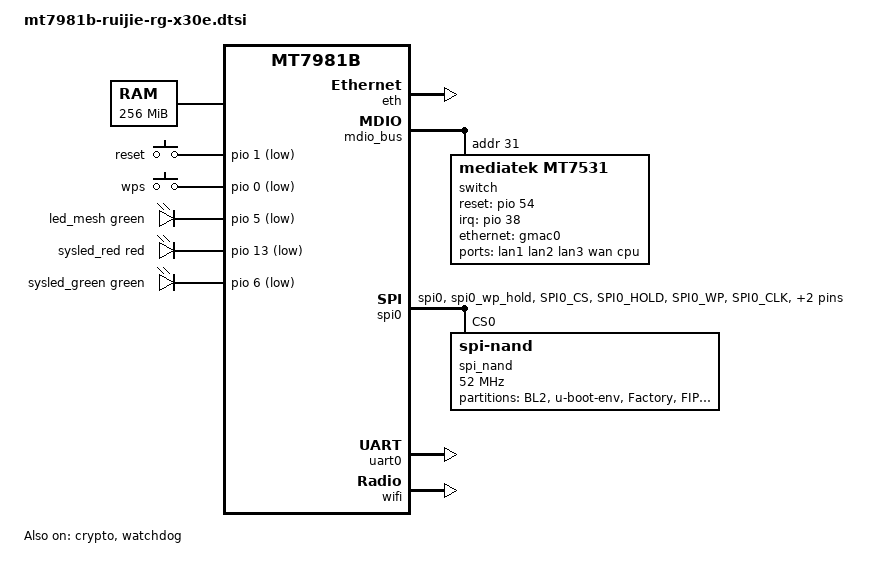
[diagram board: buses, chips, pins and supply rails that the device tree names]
// SPDX-License-Identifier: GPL-2.0-or-later OR MIT
/*
 * Ruijie RG-X30E - MT7981B + 128MB SPI-NAND (NMBM) + 256MB DDR3
 *
 * 移植来源：RuijieNetworksCommunity/MT798X-6.6-24.10 (openwrt 24.10 / kernel 6.6)
 * 适配目标：fanchmwrt-25.12.6 (kernel 6.12) 设备树写法
 *   - mt7981.dtsi            -> mt7981b.dtsi
 *   - memory { }             -> memory@40000000 + device_type
 *   - &hnat { mtketh-* }     -> 已在上游 6.12 移除（本树改用 shortcut-fe 加速）
 *   - leds label=            -> function/color（6.12 绑定）
 *   - spi_nand: flash@0      -> spi_nand@0
 *   - &mdio { ... }          -> &mdio_bus（内核补丁 117 提供的标签）
 */

/dts-v1/;
#include <dt-bindings/gpio/gpio.h>
#include <dt-bindings/input/input.h>
#include <dt-bindings/leds/common.h>
#include <dt-bindings/pinctrl/mt65xx.h>

#include "mt7981b.dtsi"

/ {
	aliases {
		serial0 = &uart0;
		led-boot = &sysled_red;
		led-failsafe = &sysled_red;
		led-running = &sysled_green;
		led-upgrade = &sysled_red;
	};

	chosen {
		stdout-path = "serial0:115200n8";
	};

	memory@40000000 {
		device_type = "memory";
		reg = <0 0x40000000 0 0x10000000>;
	};

	gpio-keys {
		compatible = "gpio-keys";

		button-reset {
			label = "reset";
			linux,code = <KEY_RESTART>;
			gpios = <&pio 1 GPIO_ACTIVE_LOW>;
		};

		button-wps {
			label = "wps";
			linux,code = <KEY_WPS_BUTTON>;
			gpios = <&pio 0 GPIO_ACTIVE_LOW>;
		};
	};

	leds {
		compatible = "gpio-leds";

		led_mesh: green-mesh {
			function = "mesh"; /* no LED_FUNCTION_MESH yet */
			color = <LED_COLOR_ID_GREEN>;
			gpios = <&pio 5 GPIO_ACTIVE_LOW>;
		};

		sysled_red: red-status {
			function = LED_FUNCTION_STATUS;
			color = <LED_COLOR_ID_RED>;
			gpios = <&pio 13 GPIO_ACTIVE_LOW>;
		};

		sysled_green: green-status {
			function = LED_FUNCTION_STATUS;
			color = <LED_COLOR_ID_GREEN>;
			gpios = <&pio 6 GPIO_ACTIVE_LOW>;
		};
	};
};

&crypto {
	status = "okay";
};

&eth {
	status = "okay";

	gmac0: mac@0 {
		compatible = "mediatek,eth-mac";
		reg = <0>;
		phy-mode = "2500base-x";

		fixed-link {
			speed = <2500>;
			full-duplex;
			pause;
		};
	};

	gmac1: mac@1 {
		compatible = "mediatek,eth-mac";
		reg = <1>;
		phy-mode = "2500base-x";

		fixed-link {
			speed = <2500>;
			full-duplex;
			pause;
		};
	};
};

&mdio_bus {
	switch: switch@1f {
		compatible = "mediatek,mt7531";
		reg = <31>;
		reset-gpios = <&pio 54 GPIO_ACTIVE_HIGH>;
		interrupt-controller;
		#interrupt-cells = <1>;
		interrupt-parent = <&pio>;
		interrupts = <38 IRQ_TYPE_LEVEL_HIGH>;
	};
};

&spi0 {
	pinctrl-names = "default";
	pinctrl-0 = <&spi0_flash_pins>;
	status = "okay";

	spi_nand@0 {
		compatible = "spi-nand";
		reg = <0>;

		spi-max-frequency = <52000000>;

		/* MT7981B 支持 4-bit SPI NAND，但 X30E 板上按 1-bit 走线 */
		spi-tx-bus-width = <1>;
		spi-rx-bus-width = <1>;

		spi-cal-enable;
		spi-cal-mode = "read-data";
		spi-cal-datalen = <7>;
		spi-cal-data = /bits/ 8 <0x53 0x50 0x49 0x4e 0x41 0x4e 0x44>;
		spi-cal-addrlen = <5>;
		spi-cal-addr = /bits/ 32 <0x0 0x0 0x0 0x0 0x0>;

		mediatek,nmbm;
		mediatek,bmt-max-ratio = <1>;
		mediatek,bmt-max-reserved-blocks = <64>;

		partitions: partitions {
			compatible = "fixed-partitions";
			#address-cells = <1>;
			#size-cells = <1>;

			partition@0 {
				label = "BL2";
				reg = <0x0 0x100000>;
				read-only;
			};

			partition@100000 {
				label = "u-boot-env";
				reg = <0x100000 0x80000>;
			};

			factory: partition@180000 {
				label = "Factory";
				reg = <0x180000 0x200000>;
				read-only;
			};

			partition@380000 {
				label = "FIP";
				reg = <0x380000 0x200000>;
				read-only;
			};

			partition@580000 {
				label = "FIP2";
				reg = <0x580000 0x200000>;
				read-only;
			};

			/* 原厂 02_network 从这里读 MAC：ethaddr=xx:xx:... */
			partition@780000 {
				label = "product_info";
				reg = <0x780000 0x80000>;
				read-only;
			};

			partition@800000 {
				label = "kdump";
				reg = <0x800000 0x80000>;
				read-only;
			};
		};
	};
};

&switch {
	ports {
		#address-cells = <1>;
		#size-cells = <0>;

		port@1 {
			reg = <1>;
			label = "lan1";
		};

		port@2 {
			reg = <2>;
			label = "lan2";
		};

		port@3 {
			reg = <3>;
			label = "lan3";
		};

		port@4 {
			reg = <4>;
			label = "wan";
		};

		port@6 {
			reg = <6>;
			label = "cpu";
			ethernet = <&gmac0>;
			phy-mode = "2500base-x";

			fixed-link {
				speed = <2500>;
				full-duplex;
				pause;
			};
		};
	};
};

&pio {
	spi0_flash_pins: spi0-pins {
		mux {
			function = "spi";
			groups = "spi0", "spi0_wp_hold";
		};

		conf-pu {
			pins = "SPI0_CS", "SPI0_HOLD", "SPI0_WP";
			drive-strength = <MTK_DRIVE_8mA>;
			bias-disable;
		};

		conf-pd {
			pins = "SPI0_CLK", "SPI0_MOSI", "SPI0_MISO";
			drive-strength = <MTK_DRIVE_8mA>;
			bias-disable;
		};
	};
};

&uart0 {
	status = "okay";
};

&watchdog {
	status = "okay";
};

&wifi {
	status = "okay";

	mediatek,mtd-eeprom = <&factory 0x0>;
};
